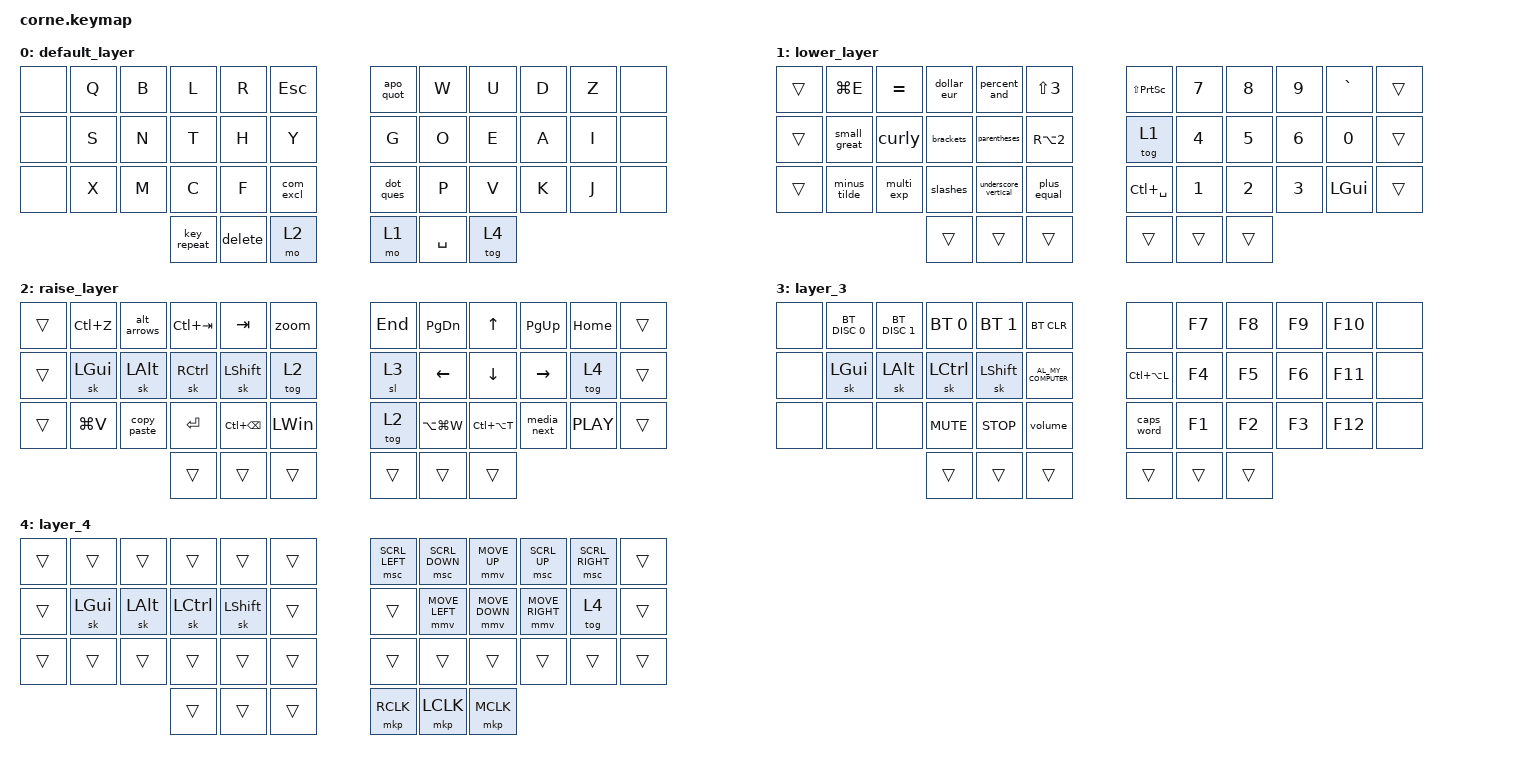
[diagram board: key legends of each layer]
/*
 * Copyright (c) 2020 The ZMK Contributors
 *
 * SPDX-License-Identifier: MIT
 */

#include <behaviors.dtsi>
#include <dt-bindings/zmk/bt.h>
#include <dt-bindings/zmk/keys.h>
#include <dt-bindings/zmk/pointing.h>

/ {
    combos {
        compatible = "zmk,combos";

        colons {
            bindings = <&semi_colon>;
            key-positions = <29 30>;
        };
    };

    behaviors {
        com_excl: com_excl {
            compatible = "zmk,behavior-mod-morph";
            label = "COM_EXCL";
            bindings = <&kp COMMA>, <&kp LS(NUMBER_1)>;

            #binding-cells = <0>;
            mods = <(MOD_LSFT)>;
            keep-mods = <(MOD_LSFT)>;
        };

        dot_ques: dot_ques {
            compatible = "zmk,behavior-mod-morph";
            label = "DOT_QUES";
            bindings = <&kp DOT>, <&kp LS(MINUS)>;

            #binding-cells = <0>;
            mods = <(MOD_LSFT)>;
            keep-mods = <(MOD_LSFT)>;
        };

        semi_colon: semi_colon {
            compatible = "zmk,behavior-mod-morph";
            label = "SEMI_COLON";
            bindings = <&kp LS(PERIOD)>, <&kp LS(COMMA)>;

            #binding-cells = <0>;
            mods = <(MOD_LSFT)>;
            keep-mods = <(MOD_LSFT)>;
        };

        apo_quot: apo_quot {
            compatible = "zmk,behavior-mod-morph";
            label = "APO_QUOT";
            bindings = <&kp NUHS>, <&kp RA(NUMBER_2)>;

            #binding-cells = <0>;
            mods = <(MOD_LSFT)>;
            keep-mods = <(MOD_RALT)>;
        };

        parentheses: parentheses {
            compatible = "zmk,behavior-mod-morph";
            label = "PARENTHESES";
            bindings = <&kp LS(N8)>, <&kp LS(NUMBER_9)>;

            #binding-cells = <0>;
            mods = <(MOD_LSFT)>;
            keep-mods = <(MOD_LSFT)>;
        };

        brackets: brackets {
            compatible = "zmk,behavior-mod-morph";
            label = "BRACKETS";
            bindings = <&kp RA(NUMBER_8)>, <&kp RA(NUMBER_9)>;

            #binding-cells = <0>;
            mods = <(MOD_LSFT)>;
            keep-mods = <(MOD_RALT)>;
        };

        curly: curly {
            compatible = "zmk,behavior-mod-morph";
            label = "CURLY";
            bindings = <&kp RA(NUMBER_7)>, <&kp RA(NUMBER_0)>;

            #binding-cells = <0>;
            mods = <(MOD_LSFT)>;
            keep-mods = <(MOD_RALT)>;
        };

        small_great: small_great {
            compatible = "zmk,behavior-mod-morph";
            label = "SMALL_GREAT";
            bindings = <&kp NON_US_BACKSLASH>, <&kp LS(NON_US_BSLH)>;

            #binding-cells = <0>;
            mods = <(MOD_LSFT)>;
            keep-mods = <(MOD_LSFT)>;
        };

        percent_and: percent_and {
            compatible = "zmk,behavior-mod-morph";
            label = "PERCENT_AND";
            bindings = <&kp LS(NUMBER_5)>, <&kp LS(NUMBER_6)>;

            #binding-cells = <0>;
            keep-mods = <(MOD_LSFT)>;
            mods = <(MOD_LSFT)>;
        };

        dollar_eur: dollar_eur {
            compatible = "zmk,behavior-mod-morph";
            label = "DOLLAR_EUR";
            bindings = <&kp RA(NUMBER_4)>, <&kp RA(NUMBER_5)>;

            #binding-cells = <0>;
            mods = <(MOD_LSFT)>;
            keep-mods = <(MOD_RALT)>;
        };

        slashes: slashes {
            compatible = "zmk,behavior-mod-morph";
            label = "SLASHES";
            bindings = <&kp LS(NUMBER_7)>, <&kp RA(MINUS)>;

            #binding-cells = <0>;
            keep-mods = <(MOD_RALT)>;
            mods = <(MOD_LSFT)>;
        };

        underscore_vertical: underscore_vertical {
            compatible = "zmk,behavior-mod-morph";
            label = "UNDERSCORE_VERTICAL";
            bindings = <&kp LS(SLASH)>, <&kp RA(NUBS)>;

            #binding-cells = <0>;
            mods = <(MOD_LSFT)>;
            keep-mods = <(MOD_RALT)>;
        };

        multi_exp: multi_exp {
            compatible = "zmk,behavior-mod-morph";
            label = "MULTI_EXP";
            bindings = <&kp LS(NUHS)>, <&kp LS(RIGHT_BRACKET)>;

            #binding-cells = <0>;
            keep-mods = <(MOD_LSFT)>;
            mods = <(MOD_LSFT)>;
        };

        plus_equal: plus_equal {
            compatible = "zmk,behavior-mod-morph";
            label = "PLUS_EQUAL";
            bindings = <&kp MINUS>, <&kp LS(NUMBER_0)>;

            #binding-cells = <0>;
            mods = <(MOD_LSFT)>;
            keep-mods = <(MOD_LSFT)>;
        };

        copy_paste: copy_paste {
            compatible = "zmk,behavior-mod-morph";
            label = "COPY_PASTE";
            bindings = <&kp LC(C)>, <&kp LC(V)>;

            #binding-cells = <0>;
            mods = <(MOD_LSFT)>;
            keep-mods = <(MOD_LCTL)>;
        };

        alt_arrows: alt_arrows {
            compatible = "zmk,behavior-mod-morph";
            label = "ALT_ARROWS";
            bindings = <&kp LA(LEFT)>, <&kp LA(RIGHT)>;

            #binding-cells = <0>;
            mods = <(MOD_LSFT)>;
            keep-mods = <(MOD_LALT)>;
        };

        media_next: media_next {
            compatible = "zmk,behavior-mod-morph";
            label = "MEDIA_NEXT";
            bindings = <&kp C_NEXT>, <&kp C_PREV>;

            #binding-cells = <0>;
            mods = <(MOD_LSFT)>;
        };

        volume: volume {
            compatible = "zmk,behavior-mod-morph";
            label = "VOLUME";
            bindings = <&kp C_VOL_DN>, <&kp C_VOLUME_UP>;

            #binding-cells = <0>;
            mods = <(MOD_LSFT)>;
        };

        delete: delete {
            compatible = "zmk,behavior-mod-morph";
            label = "DELETE";
            bindings = <&mt LEFT_SHIFT BACKSPACE>, <&kp DELETE>;

            #binding-cells = <0>;
            mods = <(MOD_LCTL)>;
        };

        minus_tilde: minus_tilde {
            compatible = "zmk,behavior-mod-morph";
            label = "MINUS_TILDE";
            bindings = <&kp SLASH>, <&kp RA(RIGHT_BRACKET)>;

            #binding-cells = <0>;
            mods = <(MOD_LSFT)>;
            keep-mods = <(MOD_RALT)>;
        };

        zoom: zoom {
            compatible = "zmk,behavior-mod-morph";
            label = "ZOOM";
            bindings = <&kp LC(MINUS)>, <&kp LC(SLASH)>;

            #binding-cells = <0>;
            mods = <(MOD_LSFT)>;
            keep-mods = <(MOD_LCTL)>;
        };
    };

    keymap {
        compatible = "zmk,keymap";

        default_layer {
            bindings = <
&none  &kp Q  &kp B  &kp L        &kp R    &kp ESCAPE    &apo_quot  &kp W      &kp U   &kp D  &kp Z  &none
&none  &kp S  &kp N  &kp T        &kp H    &kp Y         &kp G      &kp O      &kp E   &kp A  &kp I  &none
&none  &kp X  &kp M  &kp C        &kp F    &com_excl     &dot_ques  &kp P      &kp V   &kp K  &kp J  &none
                     &key_repeat  &delete  &mo 2         &mo 1      &kp SPACE  &tog 4
            >;
        };

        lower_layer {
            bindings = <
&trans  &kp LG(E)     &kp EQUAL   &dollar_eur  &percent_and          &kp LS(NUMBER_3)    &kp LS(PRINTSCREEN)  &kp N7        &kp N8        &kp N9        &kp GRAVE     &trans
&trans  &small_great  &curly      &brackets    &parentheses          &kp RA(N2)          &tog 1               &kp NUMBER_4  &kp N5        &kp NUMBER_6  &kp NUMBER_0  &trans
&trans  &minus_tilde  &multi_exp  &slashes     &underscore_vertical  &plus_equal         &kp LC(SPACE)        &kp NUMBER_1  &kp NUMBER_2  &kp NUMBER_3  &kp LEFT_GUI  &trans
                                  &trans       &trans                &trans              &trans               &trans        &trans
            >;
        };

        raise_layer {
            bindings = <
&trans  &kp LC(Z)     &alt_arrows   &kp LC(TAB)  &kp TAB            &zoom           &kp END  &kp PAGE_DOWN  &kp UP         &kp PG_UP    &kp HOME    &trans
&trans  &sk LEFT_GUI  &sk LEFT_ALT  &sk RCTRL    &sk LEFT_SHIFT     &tog 2          &sl 3    &kp LEFT       &kp DOWN       &kp RIGHT    &tog 4      &trans
&trans  &kp LG(V)     &copy_paste   &kp ENTER    &kp LC(BACKSPACE)  &kp LEFT_WIN    &tog 2   &kp LA(LG(W))  &kp LC(LA(T))  &media_next  &kp C_PLAY  &trans
                                    &trans       &trans             &trans          &trans   &trans         &trans
            >;
        };

        layer_3 {
            bindings = <
&none  &bt BT_DISC 0  &bt BT_DISC 1  &bt BT_SEL 0  &bt BT_SEL 1  &bt BT_CLR              &none          &kp F7  &kp F8  &kp F9  &kp F10  &none
&none  &sk LGUI       &sk LALT       &sk LCTRL     &sk LSHFT     &kp C_AL_MY_COMPUTER    &kp LC(LA(L))  &kp F4  &kp F5  &kp F6  &kp F11  &none
&none  &none          &none          &kp C_MUTE    &kp C_STOP    &volume                 &caps_word     &kp F1  &kp F2  &kp F3  &kp F12  &none
                                     &trans        &trans        &trans                  &trans         &trans  &trans
            >;
        };

        layer_4 {
            bindings = <
&trans  &trans    &trans    &trans     &trans     &trans    &msc SCRL_LEFT  &msc SCRL_DOWN  &mmv MOVE_UP    &msc SCRL_UP     &msc SCRL_RIGHT  &trans
&trans  &sk LGUI  &sk LALT  &sk LCTRL  &sk LSHFT  &trans    &trans          &mmv MOVE_LEFT  &mmv MOVE_DOWN  &mmv MOVE_RIGHT  &tog 4           &trans
&trans  &trans    &trans    &trans     &trans     &trans    &trans          &trans          &trans          &trans           &trans           &trans
                            &trans     &trans     &trans    &mkp RCLK       &mkp LCLK       &mkp MCLK
            >;
        };
    };
};
